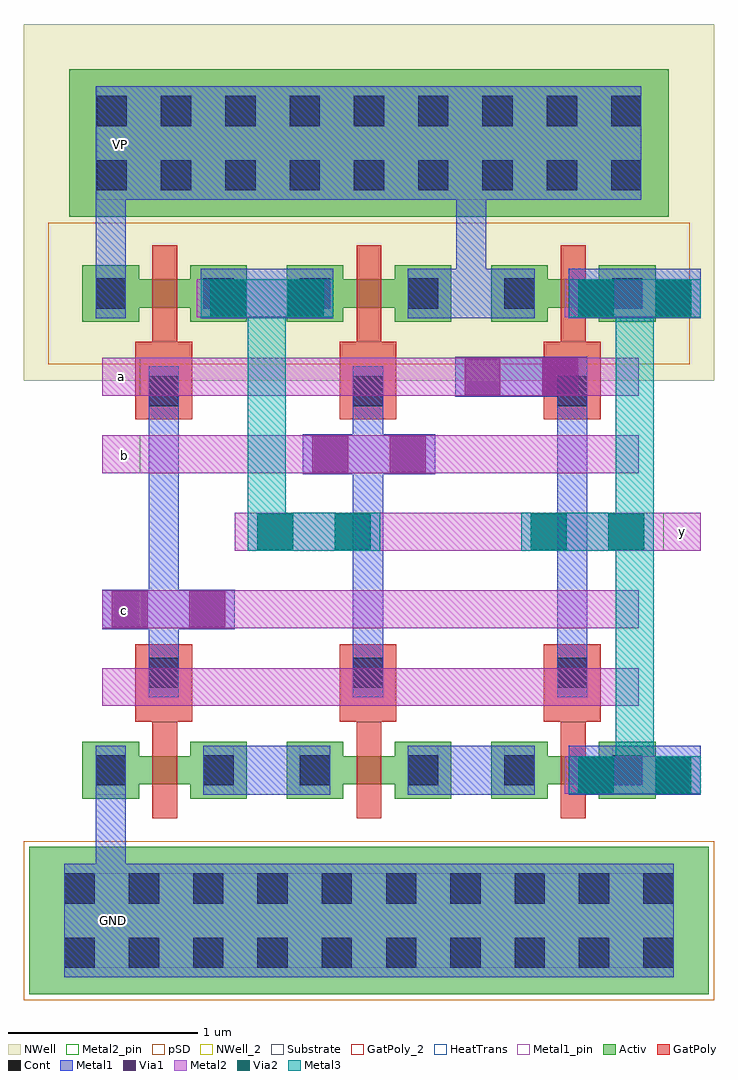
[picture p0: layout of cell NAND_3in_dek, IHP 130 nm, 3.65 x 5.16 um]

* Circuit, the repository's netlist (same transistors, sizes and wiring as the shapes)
** sch_path: /foss/designs/CHIP-PLL/schematics/divider/schematics/NAND_3in.sch
.subckt NAND_3in VP GND a y b c
*.PININFO y:O GND:B a:I VP:B b:I c:I
MM1 y a net2 GND sg13_lv_nmos w=0.15u l=0.13u ng=1
MM3 net2 b net1 GND sg13_lv_nmos w=0.15u l=0.13u ng=1
MM4 net1 c GND GND sg13_lv_nmos w=0.15u l=0.13u ng=1
MM7 y c VP VP sg13_lv_pmos w=0.15u l=0.13u ng=1
MM2 y a VP VP sg13_lv_pmos w=0.15u l=0.13u ng=1
MM5 y b VP VP sg13_lv_pmos w=0.15u l=0.13u ng=1
.ends

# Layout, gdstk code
from math import pi, radians
import gdstk
lib = gdstk.Library(unit=1e-6, precision=1e-09)
def R(c, l, rs):  # rectangles x0, y0, x1, y1
    for r in rs: c.add(gdstk.rectangle(r[:2], r[2:], *l))
def A(c, l, x, y, w, h, nx, ny, dx, dy):  # array of equal rectangles
    R(c, l, [(x+i*dx, y+j*dy, x+i*dx+w, y+j*dy+h) for i in range(nx) for j in range(ny)])
Activ = (1, 0)
GatPoly = (5, 0)
GatPoly_2 = (5, 2)
Cont = (6, 0)
Metal1 = (8, 0)
Metal1_pin = (8, 2)
Metal2 = (10, 0)
Metal2_pin = (10, 2)
pSD = (14, 0)
Via1 = (19, 0)
Via2 = (29, 0)
Metal3 = (30, 0)
NWell = (31, 0)
NWell_2 = (31, 2)
Substrate = (40, 0)
HeatTrans = (51, 0)

ntap1 = lib.new_cell('ntap1')
R(ntap1, Activ, [(0,0,3.17,0.78)])
A(ntap1, Cont, 0.145, 0.14, 0.16, 0.16, 9, 2, 0.34, 0.34)
R(ntap1, Metal1, [(0.145,0.09,3.025,0.69)])
R(ntap1, Metal1_pin, [(0.145,0.09,3.025,0.69), (0.145,0.14,3.025,0.64)])
R(ntap1, NWell, [(-0.24,-0.24,3.41,1.02), (0,0,3.17,0.78)])
R(ntap1, NWell_2, [(0,0,3.17,0.78)])
ntap1.add(gdstk.Label('well', (1.585,0.01), layer=63, texttype=0))
ntap1.add(gdstk.Label('well', (1.585,0.01), layer=31, texttype=0))

ptap1 = lib.new_cell('ptap1')
R(ptap1, Activ, [(0,0,3.59,0.78)])
A(ptap1, Cont, 0.185, 0.14, 0.16, 0.16, 10, 2, 0.34, 0.34)
R(ptap1, Metal1, [(0.185,0.09,3.405,0.69), (0.185,0.14,3.405,0.64)])
R(ptap1, Metal1_pin, [(0.185,0.14,3.405,0.64)])
R(ptap1, pSD, [(-0.03,-0.03,3.62,0.81)])
R(ptap1, Substrate, [(0,0,3.59,0.78)])
ptap1.add(gdstk.Label('sub!', (1.795,0.01), layer=63, texttype=0))
ptap1.add(gdstk.Label('sub!', (1.795,0.01), layer=40, texttype=0))

nmos = lib.new_cell('nmos')
R(nmos, Activ, [(0,0,0.3,0.3), (0.57,0,0.87,0.3), (0,0.075,0.87,0.225)])
R(nmos, GatPoly, [(0.37,-0.105,0.5,0.405)])
R(nmos, GatPoly_2, [(0.37,-0.105,0.5,0.405)])
R(nmos, Cont, [(0.07,0.07,0.23,0.23), (0.64,0.07,0.8,0.23)])
R(nmos, Metal1, [(0.07,0.02,0.23,0.28), (0.64,0.02,0.8,0.28)])
R(nmos, Metal1_pin, [(0.07,0.02,0.23,0.28), (0.64,0.02,0.8,0.28)])
R(nmos, HeatTrans, [(0.37,-0.105,0.5,0.405)])
nmos.add(gdstk.Label('nmos', (0.435,0.15), layer=63, texttype=0))
nmos.add(gdstk.Label('nmos', (0.435,0.15), layer=51, texttype=0))

pmos = lib.new_cell('pmos')
R(pmos, Activ, [(0,0,0.3,0.3), (0.57,0,0.87,0.3), (0,0.075,0.87,0.225)])
R(pmos, GatPoly, [(0.37,-0.105,0.5,0.405), (0.37,-0.105,0.5,0.405)])
R(pmos, Cont, [(0.07,0.07,0.23,0.23), (0.64,0.07,0.8,0.23)])
R(pmos, Metal1, [(0.07,0.02,0.23,0.28), (0.07,0.02,0.23,0.28), (0.64,0.02,0.8,0.28), (0.64,0.02,0.8,0.28)])
R(pmos, pSD, [(-0.18,-0.225,1.05,0.525)])
R(pmos, NWell, [(-0.31,-0.31,1.18,0.61)])
R(pmos, HeatTrans, [(0.37,-0.105,0.5,0.405)])
pmos.add(gdstk.Label('pmos', (0.435,0.15), layer=63, texttype=0))
pmos.add(gdstk.Label('pmos', (0.435,0.15), layer=51, texttype=0))

via = lib.new_cell('Via')
R(via, GatPoly, [(-0.15,-0.15,0.15,0.15)])
R(via, Cont, [(-0.08,-0.08,0.08,0.08)])
R(via, Metal1, [(-0.13,-0.08,0.13,0.08)])

via_2 = lib.new_cell('Via$2')
R(via_2, Metal1, [(-0.105,-0.35,0.105,0.35)])
R(via_2, Metal2, [(-0.1,-0.35,0.1,0.35)])
R(via_2, Via1, [(-0.095,-0.3,0.095,-0.11), (-0.095,0.11,0.095,0.3)])

via_8 = lib.new_cell('Via$8')
R(via_8, Metal2, [(-0.35,-0.1,0.35,0.1)])
R(via_8, Via2, [(-0.3,-0.095,-0.11,0.095), (0.11,-0.095,0.3,0.095)])
R(via_8, Metal3, [(-0.35,-0.1,0.35,0.1)])

via_4 = lib.new_cell('Via$4')
R(via_4, Metal2, [(-0.1,-0.35,0.1,0.35)])
R(via_4, Via2, [(-0.095,-0.3,0.095,-0.11), (-0.095,0.11,0.095,0.3)])
R(via_4, Metal3, [(-0.1,-0.35,0.1,0.35)])

via_6 = lib.new_cell('Via$6')
R(via_6, Metal1, [(-0.35,-0.105,0.35,0.105)])
R(via_6, Metal2, [(-0.35,-0.1,0.35,0.1)])
R(via_6, Via1, [(-0.3,-0.095,-0.11,0.095), (0.11,-0.095,0.3,0.095)])

nand_3in_dek = lib.new_cell('NAND_3in_dek')
A(nand_3in_dek, GatPoly, 9.375, 7.165, 0.3, 0.11, 3, 2, 1.08, 1.9)
R(nand_3in_dek, Metal1, [(9.735,6.78,10.405,7.04), (10.815,6.78,11.485,7.04), (11.665,6.78,12.365,7.04), (9.72,9.3,10.42,9.56), (10.815,9.3,11.485,9.56), (11.665,9.3,12.365,9.56)])
R(nand_3in_dek, Metal1_pin, [(9.16,6.015,9.36,6.215), (9.325,10.12,9.525,10.32)])
R(nand_3in_dek, Metal2_pin, [(9.2,7.66,9.4,7.86), (12.165,8.07,12.365,8.27), (9.2,8.48,9.4,8.68), (9.2,8.89,9.4,9.09)])
nand_3in_dek.add(gdstk.FlexPath([(9.9,8.17),(12.365,8.17)], 0.2, ends="flush", simple_path=True, layer=10, datatype=0))  # Metal2
nand_3in_dek.add(gdstk.FlexPath([(11.81,9.405),(11.645,9.405)], 0.2, ends="flush", simple_path=True, layer=10, datatype=0))  # Metal2
nand_3in_dek.add(gdstk.FlexPath([(11.81,6.885),(11.645,6.885)], 0.2, ends="flush", simple_path=True, layer=10, datatype=0))  # Metal2
nand_3in_dek.add(gdstk.FlexPath([(9.2,7.76),(12.035,7.76)], 0.2, ends="flush", simple_path=True, layer=10, datatype=0))  # Metal2
nand_3in_dek.add(gdstk.FlexPath([(9.2,7.35),(12.035,7.35)], 0.2, ends="flush", simple_path=True, layer=10, datatype=0))  # Metal2
nand_3in_dek.add(gdstk.FlexPath([(9.2,8.99),(12.035,8.99)], 0.2, ends="flush", simple_path=True, layer=10, datatype=0))  # Metal2
nand_3in_dek.add(gdstk.FlexPath([(9.2,8.58),(12.035,8.58)], 0.2, ends="flush", simple_path=True, layer=10, datatype=0))  # Metal2
nand_3in_dek.add(gdstk.FlexPath([(9.865,9.405),(9.7,9.405)], 0.2, ends="flush", simple_path=True, layer=10, datatype=0))  # Metal2
nand_3in_dek.add(gdstk.FlexPath([(10.43,8.58),(10.43,8.58)], 0.2, ends="flush", simple_path=True, layer=10, datatype=0))  # Metal2
nand_3in_dek.add(gdstk.FlexPath([(11.685,7.555),(11.685,8.785)], 0.16, ends="flush", simple_path=True, layer=8, datatype=0))  # Metal1
nand_3in_dek.add(gdstk.FlexPath([(11.15,9.56),(11.15,9.925)], 0.16, ends="flush", simple_path=True, layer=8, datatype=0))  # Metal1
nand_3in_dek.add(gdstk.FlexPath([(9.245,9.56),(9.245,10.525)], 0.16, ends="flush", simple_path=True, layer=8, datatype=0))  # Metal1
nand_3in_dek.add(gdstk.FlexPath([(9.245,6.78),(9.245,6.415)], 0.16, ends="flush", simple_path=True, layer=8, datatype=0))  # Metal1
nand_3in_dek.add(gdstk.FlexPath([(9.525,7.555),(9.525,8.785)], 0.16, ends="flush", simple_path=True, layer=8, datatype=0))  # Metal1
nand_3in_dek.add(gdstk.FlexPath([(10.605,7.555),(10.605,8.785)], 0.16, ends="flush", simple_path=True, layer=8, datatype=0))  # Metal1
nand_3in_dek.add(gdstk.FlexPath([(12.015,6.885),(12.015,8.17)], 0.2, ends="flush", simple_path=True, layer=30, datatype=0))  # Metal3
nand_3in_dek.add(gdstk.FlexPath([(12.015,9.405),(12.015,8.17)], 0.2, ends="flush", simple_path=True, layer=30, datatype=0))  # Metal3
nand_3in_dek.add(gdstk.FlexPath([(10.07,9.305),(10.07,8.07)], 0.2, ends="flush", simple_path=True, layer=30, datatype=0))  # Metal3
nand_3in_dek.add(gdstk.Reference(ntap1, (9.025,9.835)))
nand_3in_dek.add(gdstk.Reference(ptap1, (8.815,5.725)))
nand_3in_dek.add(gdstk.Reference(nmos, (10.175,6.76)))
nand_3in_dek.add(gdstk.Reference(pmos, (10.175,9.28)))
nand_3in_dek.add(gdstk.Reference(nmos, (9.095,6.76)))
nand_3in_dek.add(gdstk.Reference(pmos, (9.095,9.28)))
nand_3in_dek.add(gdstk.Reference(via, (9.525,8.915), rotation=pi/2))
nand_3in_dek.add(gdstk.Reference(via, (10.605,8.915), rotation=pi/2))
nand_3in_dek.add(gdstk.Reference(via, (10.605,7.425), rotation=3*pi/2))
nand_3in_dek.add(gdstk.Reference(via, (9.525,7.425), rotation=3*pi/2))
nand_3in_dek.add(gdstk.Reference(via_2, (10.61,8.58), rotation=3*pi/2))
nand_3in_dek.add(gdstk.Reference(via_8, (10.32,8.17)))
nand_3in_dek.add(gdstk.Reference(via_2, (10.07,9.405), rotation=3*pi/2))
nand_3in_dek.add(gdstk.Reference(via_4, (10.07,9.405), rotation=3*pi/2))
nand_3in_dek.add(gdstk.Reference(via_6, (11.415,8.99)))
nand_3in_dek.add(gdstk.Reference(pmos, (11.255,9.28)))
nand_3in_dek.add(gdstk.Reference(nmos, (11.255,6.76)))
nand_3in_dek.add(gdstk.Reference(via, (11.685,8.915), rotation=pi/2))
nand_3in_dek.add(gdstk.Reference(via, (11.685,7.425), rotation=3*pi/2))
nand_3in_dek.add(gdstk.Reference(via_2, (12.015,9.405), rotation=3*pi/2))
nand_3in_dek.add(gdstk.Reference(via_4, (12.015,9.405), rotation=3*pi/2))
nand_3in_dek.add(gdstk.Reference(via_2, (12.015,6.885), rotation=3*pi/2))
nand_3in_dek.add(gdstk.Reference(via_4, (12.015,6.885), rotation=3*pi/2))
nand_3in_dek.add(gdstk.Reference(via_8, (11.765,8.17)))
nand_3in_dek.add(gdstk.Reference(via_2, (9.55,7.76), rotation=3*pi/2))
nand_3in_dek.add(gdstk.Label('c', (9.315,7.755), layer=10, texttype=25))
nand_3in_dek.add(gdstk.Label('y', (12.265,8.17), layer=10, texttype=25))
nand_3in_dek.add(gdstk.Label('b', (9.315,8.575), layer=10, texttype=25))
nand_3in_dek.add(gdstk.Label('a', (9.3,8.99), layer=10, texttype=25))
nand_3in_dek.add(gdstk.Label('VP', (9.295,10.22), layer=8, texttype=25))
nand_3in_dek.add(gdstk.Label('GND', (9.26,6.115), layer=8, texttype=25))

lib.write_gds('NAND_3in_dek.gds')
